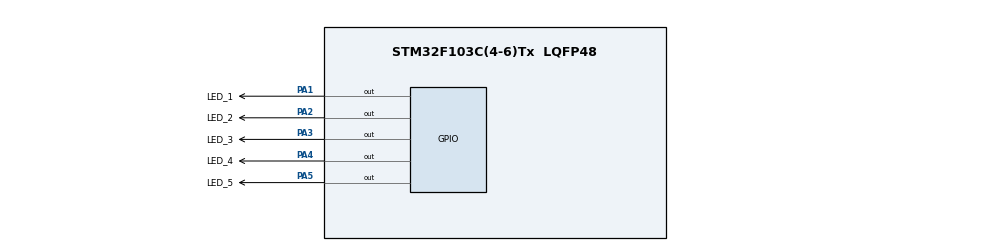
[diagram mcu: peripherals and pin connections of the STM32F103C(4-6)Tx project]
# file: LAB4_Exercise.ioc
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Mcu.Family=STM32F1
Mcu.Name=STM32F103C(4-6)Tx
Mcu.Package=LQFP48
NVIC.PriorityGroup=NVIC_PRIORITYGROUP_4
NVIC.TIM2_IRQn=true\:0\:0\:false\:false\:true\:true\:true\:true
PA1.GPIO_Label=LED_1
PA1.Signal=GPIO_Output
PA2.GPIO_Label=LED_2
PA2.Signal=GPIO_Output
PA3.GPIO_Label=LED_3
PA3.Signal=GPIO_Output
PA4.GPIO_Label=LED_4
PA4.Signal=GPIO_Output
PA5.GPIO_Label=LED_5
PA5.Signal=GPIO_Output
ProjectManager.HeapSize=0x200
ProjectManager.StackSize=0x400
ProjectManager.TargetToolchain=STM32CubeIDE
RCC.APB1Freq_Value=8000000
RCC.APB2Freq_Value=8000000
TIM2.Period=9
TIM2.Prescaler=7999
VP_SYS_VS_ND.Mode=No_Debug
VP_TIM2_VS_ClockSourceINT.Mode=Internal
board=custom

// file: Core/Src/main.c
/* USER CODE BEGIN Header */
/**
  ******************************************************************************
  * @file           : main.c
  * @brief          : Main program body
  ******************************************************************************
  * @attention
  *
  * Copyright (c) 2024 STMicroelectronics.
  * All rights reserved.
  *
  * This software is licensed under terms that can be found in the LICENSE file
  * in the root directory of this software component.
  * If no LICENSE file comes with this software, it is provided AS-IS.
  *
  ******************************************************************************
  */
/* USER CODE END Header */
#include "main.h"

/* USER CODE BEGIN Includes */
#include "scheduler.h"
/* USER CODE END Includes */

TIM_HandleTypeDef htim2;

void SystemClock_Config(void);
static void MX_GPIO_Init(void);
static void MX_TIM2_Init(void);

/* USER CODE BEGIN 0 */
void ToggleLED1(){
	HAL_GPIO_TogglePin(GPIOA, GPIO_PIN_1);
}
void ToggleLED2(){
	HAL_GPIO_TogglePin(GPIOA, GPIO_PIN_2);
}
void ToggleLED3(){
	HAL_GPIO_TogglePin(GPIOA, GPIO_PIN_3);
}
void ToggleLED4(){
	HAL_GPIO_TogglePin(GPIOA, GPIO_PIN_4);
}
void ToggleLED5(){
	HAL_GPIO_TogglePin(GPIOA, GPIO_PIN_5);
}
/* USER CODE END 0 */

int main(void)
{

  /* MCU Configuration--------------------------------------------------------*/

  /* Reset of all peripherals, Initializes the Flash interface and the Systick. */
  HAL_Init();

  /* Configure the system clock */
  SystemClock_Config();

  /* Initialize all configured peripherals */
  MX_GPIO_Init();
  MX_TIM2_Init();
  /* USER CODE BEGIN 2 */
  HAL_TIM_Base_Start_IT(&htim2);
  /* USER CODE END 2 */

  /* Infinite loop */
  /* USER CODE BEGIN WHILE */
  SCH_Init();
  SCH_Add_Task(ToggleLED1, 1000, 500);
  SCH_Add_Task(ToggleLED2, 1000, 1000);
  SCH_Add_Task(ToggleLED3, 1000, 0);
  SCH_Add_Task(ToggleLED4, 1000, 2000);
  SCH_Add_Task(ToggleLED5, 1000, 3000);
  while (1)
  {
	  SCH_Dispatch_Tasks();
    /* USER CODE END WHILE */

  }
}

void SystemClock_Config(void)
{
  RCC_OscInitTypeDef RCC_OscInitStruct = {0};
  RCC_ClkInitTypeDef RCC_ClkInitStruct = {0};

  /** Initializes the RCC Oscillators according to the specified parameters
  * in the RCC_OscInitTypeDef structure.
  */
  RCC_OscInitStruct.OscillatorType = RCC_OSCILLATORTYPE_HSI;
  RCC_OscInitStruct.HSIState = RCC_HSI_ON;
  RCC_OscInitStruct.HSICalibrationValue = RCC_HSICALIBRATION_DEFAULT;
  RCC_OscInitStruct.PLL.PLLState = RCC_PLL_NONE;
  if (HAL_RCC_OscConfig(&RCC_OscInitStruct) != HAL_OK)
  {
    Error_Handler();
  }

  /** Initializes the CPU, AHB and APB buses clocks
  */
  RCC_ClkInitStruct.ClockType = RCC_CLOCKTYPE_HCLK|RCC_CLOCKTYPE_SYSCLK
                              |RCC_CLOCKTYPE_PCLK1|RCC_CLOCKTYPE_PCLK2;
  RCC_ClkInitStruct.SYSCLKSource = RCC_SYSCLKSOURCE_HSI;
  RCC_ClkInitStruct.AHBCLKDivider = RCC_SYSCLK_DIV1;
  RCC_ClkInitStruct.APB1CLKDivider = RCC_HCLK_DIV1;
  RCC_ClkInitStruct.APB2CLKDivider = RCC_HCLK_DIV1;

  if (HAL_RCC_ClockConfig(&RCC_ClkInitStruct, FLASH_LATENCY_0) != HAL_OK)
  {
    Error_Handler();
  }
}

static void MX_TIM2_Init(void)
{

  TIM_ClockConfigTypeDef sClockSourceConfig = {0};
  TIM_MasterConfigTypeDef sMasterConfig = {0};

  htim2.Instance = TIM2;
  htim2.Init.Prescaler = 7999;
  htim2.Init.CounterMode = TIM_COUNTERMODE_UP;
  htim2.Init.Period = 9;
  htim2.Init.ClockDivision = TIM_CLOCKDIVISION_DIV1;
  htim2.Init.AutoReloadPreload = TIM_AUTORELOAD_PRELOAD_DISABLE;
  if (HAL_TIM_Base_Init(&htim2) != HAL_OK)
  {
    Error_Handler();
  }
  sClockSourceConfig.ClockSource = TIM_CLOCKSOURCE_INTERNAL;
  if (HAL_TIM_ConfigClockSource(&htim2, &sClockSourceConfig) != HAL_OK)
  {
    Error_Handler();
  }
  sMasterConfig.MasterOutputTrigger = TIM_TRGO_RESET;
  sMasterConfig.MasterSlaveMode = TIM_MASTERSLAVEMODE_DISABLE;
  if (HAL_TIMEx_MasterConfigSynchronization(&htim2, &sMasterConfig) != HAL_OK)
  {
    Error_Handler();
  }

}

static void MX_GPIO_Init(void)
{
  GPIO_InitTypeDef GPIO_InitStruct = {0};

  /* GPIO Ports Clock Enable */
  __HAL_RCC_GPIOA_CLK_ENABLE();

  /*Configure GPIO pin Output Level */
  HAL_GPIO_WritePin(GPIOA, LED_1_Pin|LED_2_Pin|LED_3_Pin|LED_4_Pin
                          |LED_5_Pin, GPIO_PIN_RESET);

  /*Configure GPIO pins : LED_1_Pin LED_2_Pin LED_3_Pin LED_4_Pin
                           LED_5_Pin */
  GPIO_InitStruct.Pin = LED_1_Pin|LED_2_Pin|LED_3_Pin|LED_4_Pin
                          |LED_5_Pin;
  GPIO_InitStruct.Mode = GPIO_MODE_OUTPUT_PP;
  GPIO_InitStruct.Pull = GPIO_NOPULL;
  GPIO_InitStruct.Speed = GPIO_SPEED_FREQ_LOW;
  HAL_GPIO_Init(GPIOA, &GPIO_InitStruct);

}

/* USER CODE BEGIN 4 */
int counter = 100;
void HAL_TIM_PeriodElapsedCallback(TIM_HandleTypeDef *htim){
	SCH_Update();
}
/* USER CODE END 4 */

void Error_Handler(void)
{
  __disable_irq();
  while (1)
  {
  }
}
